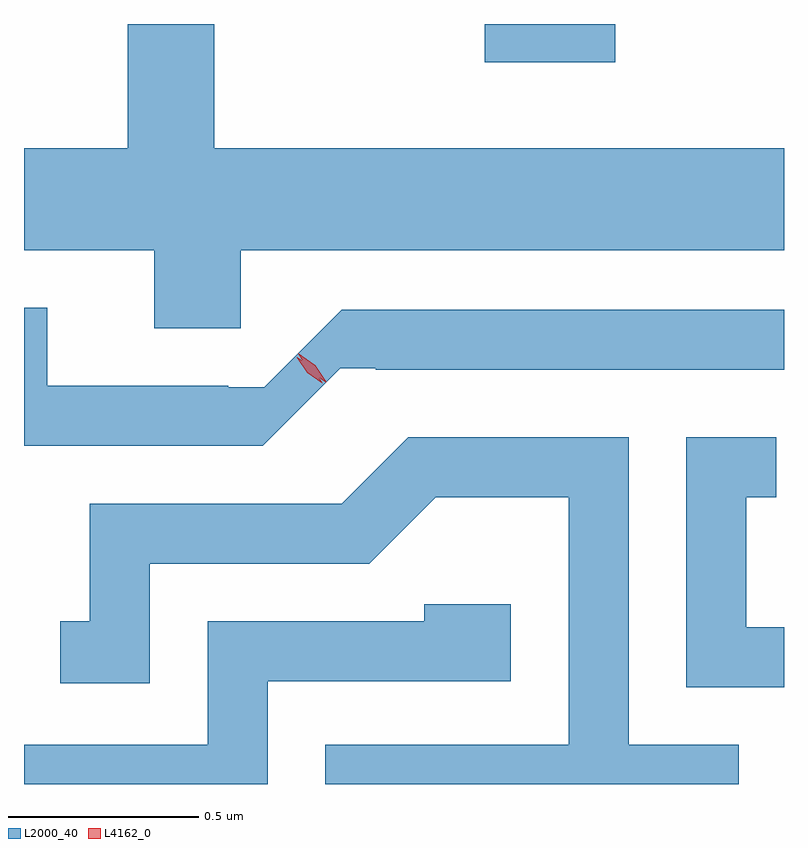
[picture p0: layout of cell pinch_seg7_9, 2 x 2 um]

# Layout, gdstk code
import gdstk
lib = gdstk.Library(unit=1e-6, precision=1e-09)
def R(c, l, rs):  # rectangles x0, y0, x1, y1
    for r in rs: c.add(gdstk.rectangle(r[:2], r[2:], *l))
def P(c, l, *ps):  # polygons
    for p in ps: c.add(gdstk.Polygon(p, *l))
L2000_40 = (2000, 40)
L4162_0 = (4162, 0)

pinch_seg7_9 = lib.new_cell('pinch_seg7_9')
R(pinch_seg7_9, L2000_40, [(1621.891,1779.191,1622.234,1779.291)])
P(pinch_seg7_9, L2000_40, [(1621.249,1778.696),(1622.678,1778.696),(1622.678,1778.964),(1621.179,1778.964),(1621.179,1779.291),(1620.951,1779.291),(1620.951,1778.964),(1620.678,1778.964),(1620.678,1778.696),(1621.021,1778.696),(1621.021,1778.491),(1621.249,1778.491)],
  [(1621.51,1778.385),(1621.604,1778.385),(1621.604,1778.381),(1622.678,1778.381),(1622.678,1778.539),(1621.514,1778.539),(1621.31,1778.335),(1621.215,1778.335),(1621.215,1778.339),(1620.739,1778.339),(1620.739,1778.544),(1620.678,1778.544),(1620.678,1778.181),(1621.306,1778.181)],
  [(1622.559,1777.394),(1622.269,1777.394),(1622.269,1778.204),(1621.689,1778.204),(1621.514,1778.029),(1620.851,1778.029),(1620.851,1777.719),(1620.773,1777.719),(1620.773,1777.556),(1621.009,1777.556),(1621.009,1777.871),(1621.587,1777.871),(1621.762,1778.046),(1622.111,1778.046),(1622.111,1777.394),(1621.471,1777.394),(1621.471,1777.291),(1622.559,1777.291)],
  [(1622.678,1777.704),(1622.579,1777.704),(1622.579,1778.046),(1622.658,1778.046),(1622.658,1778.204),(1622.421,1778.204),(1622.421,1777.546),(1622.678,1777.546)],
  [(1621.319,1777.561),(1621.959,1777.561),(1621.959,1777.764),(1621.731,1777.764),(1621.731,1777.719),(1621.161,1777.719),(1621.161,1777.394),(1620.678,1777.394),(1620.678,1777.291),(1621.319,1777.291)])
P(pinch_seg7_9, L4162_0, [(1621.472,1778.348),(1621.429,1778.379),(1621.4,1778.423),(1621.4,1778.424),(1621.4,1778.424),(1621.444,1778.393),(1621.473,1778.349),(1621.473,1778.348)],
  [(1621.463,1778.346),(1621.423,1778.373),(1621.396,1778.414),(1621.396,1778.414),(1621.397,1778.414),(1621.437,1778.387),(1621.463,1778.347),(1621.463,1778.346)])

lib.write_gds('pinch_seg7_9.gds')
